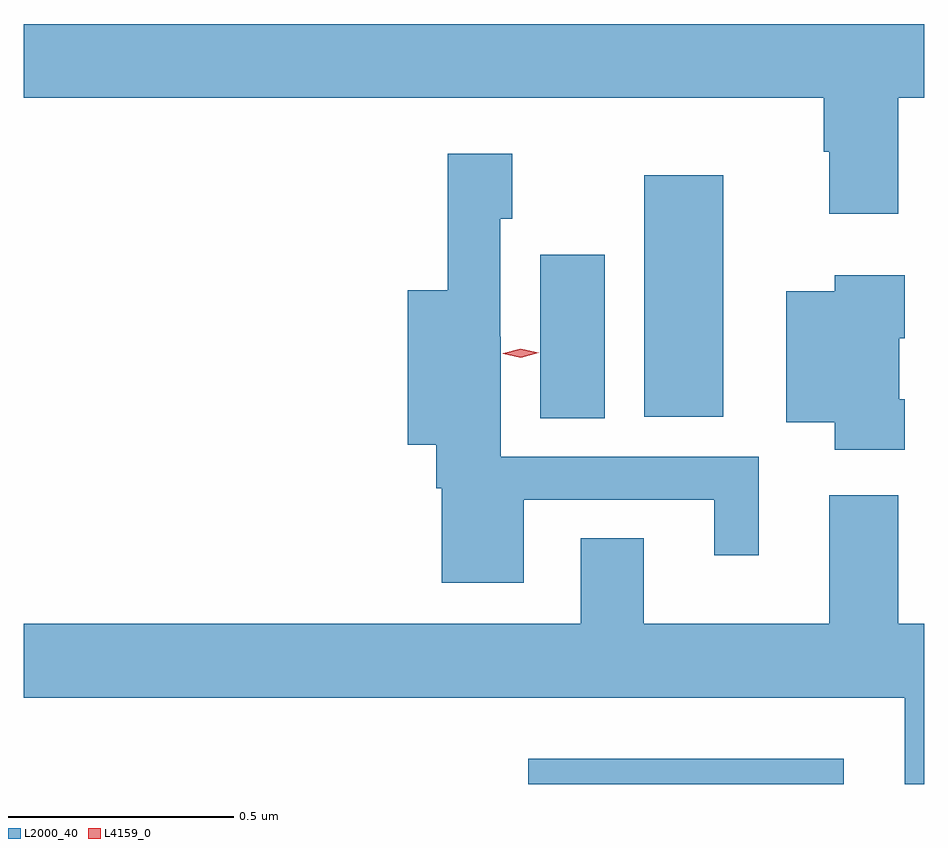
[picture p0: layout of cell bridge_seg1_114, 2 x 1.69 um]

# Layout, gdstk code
import gdstk
lib = gdstk.Library(unit=1e-6, precision=1e-09)
def R(c, l, rs):  # rectangles x0, y0, x1, y1
    for r in rs: c.add(gdstk.rectangle(r[:2], r[2:], *l))
def P(c, l, *ps):  # polygons
    for p in ps: c.add(gdstk.Polygon(p, *l))
L2000_40 = (2000, 40)
L4159_0 = (4159, 0)

bridge_seg1_114 = lib.new_cell('bridge_seg1_114')
R(bridge_seg1_114, L2000_40, [(166.437,522.236,167.137,522.292), (166.463,523.048,166.606,523.411), (166.694,523.052,166.87,523.588)])
P(bridge_seg1_114, L2000_40, [(167.258,523.76),(167.316,523.76),(167.316,523.924),(165.316,523.924),(165.316,523.76),(167.093,523.76),(167.093,523.64),(167.105,523.64),(167.105,523.503),(167.258,523.503)],
  [(166.426,522.867),(166.85,522.867),(166.85,522.744),(166.948,522.744),(166.948,522.963),(166.375,522.963),(166.375,523.229),(166.374,523.229),(166.374,523.491),(166.401,523.491),(166.401,523.636),(166.258,523.636),(166.258,523.333),(166.169,523.333),(166.169,522.989),(166.232,522.989),(166.232,522.893),(166.244,522.893),(166.244,522.683),(166.426,522.683)],
  [(167.273,523.09),(167.26,523.09),(167.26,523.226),(167.273,523.226),(167.273,523.366),(167.117,523.366),(167.117,523.33),(167.009,523.33),(167.009,523.04),(167.117,523.04),(167.117,522.978),(167.273,522.978)],
  [(167.316,522.592),(167.258,522.592),(167.258,522.877),(167.105,522.877),(167.105,522.592),(166.693,522.592),(166.693,522.782),(166.553,522.782),(166.553,522.592),(165.316,522.592),(165.316,522.428),(167.273,522.428),(167.273,522.236),(167.316,522.236)])
P(bridge_seg1_114, L4159_0, [(166.42,523.183),(166.381,523.192),(166.38,523.193),(166.381,523.193),(166.42,523.203),(166.46,523.194),(166.46,523.194),(166.46,523.194)])

lib.write_gds('bridge_seg1_114.gds')
